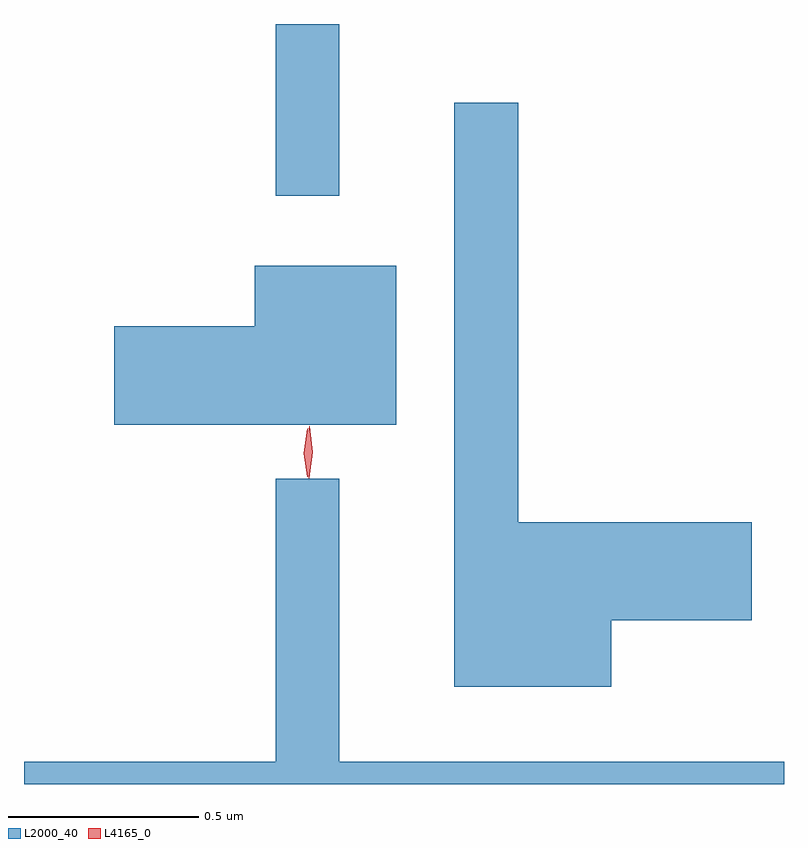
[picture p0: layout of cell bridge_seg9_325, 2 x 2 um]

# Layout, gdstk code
import gdstk
lib = gdstk.Library(unit=1e-6, precision=1e-09)
def R(c, l, rs):  # rectangles x0, y0, x1, y1
    for r in rs: c.add(gdstk.rectangle(r[:2], r[2:], *l))
def P(c, l, *ps):  # polygons
    for p in ps: c.add(gdstk.Polygon(p, *l))
L2000_40 = (2000, 40)
L4165_0 = (4165, 0)

bridge_seg9_325 = lib.new_cell('bridge_seg9_325')
R(bridge_seg9_325, L2000_40, [(946.841,2075.713,947.009,2076.165)])
P(bridge_seg9_325, L2000_40, [(947.724,2074.596),(948.094,2074.596),(948.094,2074.854),(947.479,2074.854),(947.479,2075.958),(947.311,2075.958),(947.311,2074.421),(947.724,2074.421)],
  [(947.159,2075.529),(946.786,2075.529),(946.786,2075.369),(946.416,2075.369),(946.416,2075.111),(947.159,2075.111)],
  [(948.179,2074.224),(947.009,2074.224),(947.009,2074.968),(946.841,2074.968),(946.841,2074.224),(946.179,2074.224),(946.179,2074.165),(948.179,2074.165)])
P(bridge_seg9_325, L4165_0, [(946.928,2074.97),(946.928,2074.97),(946.919,2075.038),(946.93,2075.106),(946.93,2075.106),(946.931,2075.106),(946.939,2075.038),(946.929,2074.97)],
  [(946.924,2074.973),(946.915,2075.036),(946.924,2075.1),(946.925,2075.1),(946.926,2075.1),(946.935,2075.036),(946.926,2074.973),(946.925,2074.973)])

lib.write_gds('bridge_seg9_325.gds')
